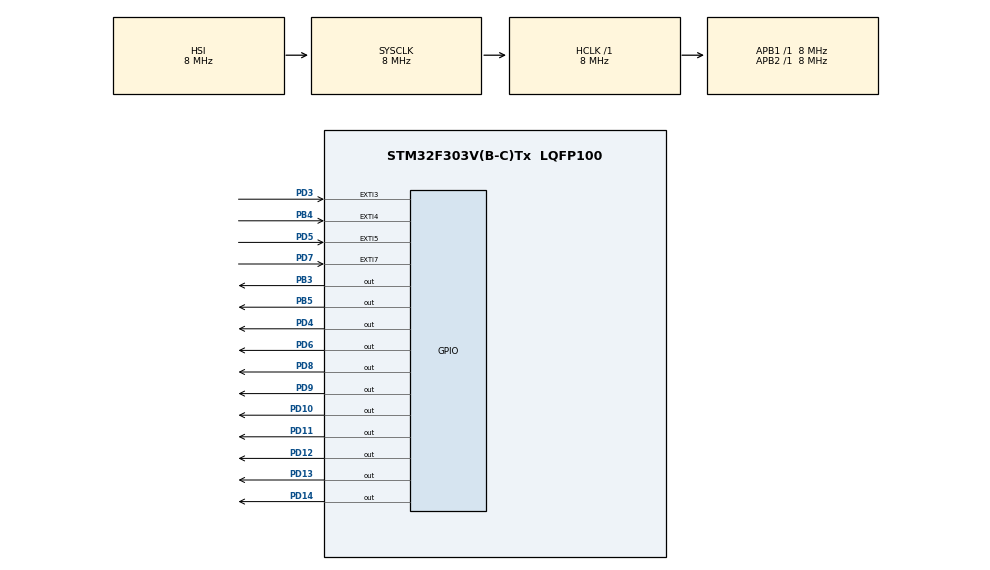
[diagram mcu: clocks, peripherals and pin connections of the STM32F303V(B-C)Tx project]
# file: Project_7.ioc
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Mcu.Family=STM32F3
Mcu.Name=STM32F303V(B-C)Tx
Mcu.Package=LQFP100
NVIC.EXTI3_IRQn=true\:1\:0\:true\:false\:true\:true\:true
NVIC.EXTI4_IRQn=true\:1\:0\:true\:false\:true\:true\:true
NVIC.EXTI9_5_IRQn=true\:1\:0\:true\:false\:true\:true\:true
NVIC.PriorityGroup=NVIC_PRIORITYGROUP_4
PB3.GPIO_PuPd=GPIO_PULLDOWN
PB3.PinState=GPIO_PIN_SET
PB3.Signal=GPIO_Output
PB4.GPIO_ModeDefaultEXTI=GPIO_MODE_IT_RISING_FALLING
PB4.GPIO_PuPd=GPIO_PULLDOWN
PB4.Signal=GPXTI4
PB5.GPIO_PuPd=GPIO_PULLDOWN
PB5.PinState=GPIO_PIN_SET
PB5.Signal=GPIO_Output
PD10.Signal=GPIO_Output
PD11.Signal=GPIO_Output
PD12.Signal=GPIO_Output
PD13.Signal=GPIO_Output
PD14.Signal=GPIO_Output
PD3.GPIO_ModeDefaultEXTI=GPIO_MODE_IT_RISING_FALLING
PD3.GPIO_PuPd=GPIO_PULLDOWN
PD3.Signal=GPXTI3
PD4.GPIO_PuPd=GPIO_PULLDOWN
PD4.PinState=GPIO_PIN_SET
PD4.Signal=GPIO_Output
PD5.GPIO_ModeDefaultEXTI=GPIO_MODE_IT_RISING_FALLING
PD5.GPIO_PuPd=GPIO_PULLDOWN
PD5.Signal=GPXTI5
PD6.GPIO_PuPd=GPIO_PULLDOWN
PD6.PinState=GPIO_PIN_SET
PD6.Signal=GPIO_Output
PD7.GPIO_ModeDefaultEXTI=GPIO_MODE_IT_RISING_FALLING
PD7.GPIO_PuPd=GPIO_PULLDOWN
PD7.Signal=GPXTI7
PD8.Signal=GPIO_Output
PD9.Signal=GPIO_Output
ProjectManager.HeapSize=0x200
ProjectManager.StackSize=0x400
ProjectManager.TargetToolchain=STM32CubeIDE
RCC.AHBFreq_Value=8000000
RCC.APB1Freq_Value=8000000
RCC.APB2Freq_Value=8000000
RCC.CortexFreq_Value=8000000
RCC.HSE_VALUE=8000000
RCC.HSI_VALUE=8000000
RCC.LSE_VALUE=32768
RCC.SYSCLKFreq_VALUE=8000000
board=custom

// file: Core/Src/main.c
/* USER CODE BEGIN Header */
/**
  ******************************************************************************
  * @file           : main.c
  * @brief          : Main program body
  ******************************************************************************
  * @attention
  *
  * <h2><center>&copy; Copyright (c) 2022 STMicroelectronics.
  * All rights reserved.</center></h2>
  *
  * This software component is licensed by ST under BSD 3-Clause license,
  * the "License"; You may not use this file except in compliance with the
  * License. You may obtain a copy of the License at:
  *                        opensource.org/licenses/BSD-3-Clause
  *
  ******************************************************************************
  */
/* USER CODE END Header */
#include "main.h"

/* USER CODE BEGIN Includes */
#include "LiquidCrystal.h"
#include "stdio.h"
#include "math.h"
#include "stdbool.h"
/* USER CODE END Includes */

/* USER CODE BEGIN PTD */
GPIO_TypeDef *const Row_ports[] = {GPIOD, GPIOD, GPIOD, GPIOB};
const uint16_t Row_pins[] = {GPIO_PIN_3, GPIO_PIN_5, GPIO_PIN_7, GPIO_PIN_4};
GPIO_TypeDef *const Column_ports[] = {GPIOD, GPIOD, GPIOB, GPIOB};
const uint16_t Column_pins[] = {GPIO_PIN_4, GPIO_PIN_6, GPIO_PIN_3, GPIO_PIN_5};
volatile uint32_t last_gpio_exti;
/* USER CODE END PTD */

/* USER CODE BEGIN PV */
int operator = 0, number_2 = 0;
float number_1 = 0, result = 0;
int get_number_state = 1;
int negative_flag = 0, error_flag = 0;
/* USER CODE END PV */

void SystemClock_Config(void);

static void MX_GPIO_Init(void);
/* USER CODE BEGIN PFP */
void manage_input(int);
int get_digit_or_operator(int);
float calculate_result();

/* USER CODE END PFP */

/* USER CODE BEGIN 0 */
void HAL_GPIO_EXTI_Callback(uint16_t GPIO_Pin) {
    if (last_gpio_exti + 200 > HAL_GetTick()) {
        return;
    }
    last_gpio_exti = HAL_GetTick();

    int8_t row_number = -1;
    int8_t column_number = -1;

    for (uint8_t row = 0; row < 4; row++) {
        if (GPIO_Pin == Row_pins[row]) {
            row_number = row;
        }
    }

    HAL_GPIO_WritePin(Column_ports[0], Column_pins[0], 0);
    HAL_GPIO_WritePin(Column_ports[1], Column_pins[1], 0);
    HAL_GPIO_WritePin(Column_ports[2], Column_pins[2], 0);
    HAL_GPIO_WritePin(Column_ports[3], Column_pins[3], 0);

    for (uint8_t col = 0; col < 4; col++) {
        HAL_GPIO_WritePin(Column_ports[col], Column_pins[col], 1);
        if (HAL_GPIO_ReadPin(Row_ports[row_number], Row_pins[row_number])) {
            column_number = col;
        }
        HAL_GPIO_WritePin(Column_ports[col], Column_pins[col], 0);
    }

    HAL_GPIO_WritePin(Column_ports[0], Column_pins[0], 1);
    HAL_GPIO_WritePin(Column_ports[1], Column_pins[1], 1);
    HAL_GPIO_WritePin(Column_ports[2], Column_pins[2], 1);
    HAL_GPIO_WritePin(Column_ports[3], Column_pins[3], 1);

    if (row_number == -1 || column_number == -1) {
        return;
    }

    const uint8_t button_number = row_number * 4 + column_number + 1;

    manage_input(button_number);
}
/* USER CODE END 0 */

int main(void) {

    /* MCU Configuration--------------------------------------------------------*/

    /* Reset of all peripherals, Initializes the Flash interface and the Systick. */
    HAL_Init();

    /* Configure the system clock */
    SystemClock_Config();

    /* Initialize all configured peripherals */
    MX_GPIO_Init();
    /* USER CODE BEGIN 2 */
    LiquidCrystal(GPIOD, GPIO_PIN_8, GPIO_PIN_9, GPIO_PIN_10, GPIO_PIN_11, GPIO_PIN_12, GPIO_PIN_13, GPIO_PIN_14);
    begin(20, 4);
    setCursor(1, 0);
    print("0");
    /* USER CODE END 2 */

    /* Infinite loop */
    while (1) {

    }
}

void SystemClock_Config(void) {
    RCC_OscInitTypeDef RCC_OscInitStruct = {0};
    RCC_ClkInitTypeDef RCC_ClkInitStruct = {0};

    /** Initializes the RCC Oscillators according to the specified parameters
    * in the RCC_OscInitTypeDef structure.
    */
    RCC_OscInitStruct.OscillatorType = RCC_OSCILLATORTYPE_HSI;
    RCC_OscInitStruct.HSIState = RCC_HSI_ON;
    RCC_OscInitStruct.HSICalibrationValue = RCC_HSICALIBRATION_DEFAULT;
    RCC_OscInitStruct.PLL.PLLState = RCC_PLL_NONE;
    if (HAL_RCC_OscConfig(&RCC_OscInitStruct) != HAL_OK) {
        Error_Handler();
    }
    /** Initializes the CPU, AHB and APB buses clocks
    */
    RCC_ClkInitStruct.ClockType = RCC_CLOCKTYPE_HCLK | RCC_CLOCKTYPE_SYSCLK
                                  | RCC_CLOCKTYPE_PCLK1 | RCC_CLOCKTYPE_PCLK2;
    RCC_ClkInitStruct.SYSCLKSource = RCC_SYSCLKSOURCE_HSI;
    RCC_ClkInitStruct.AHBCLKDivider = RCC_SYSCLK_DIV1;
    RCC_ClkInitStruct.APB1CLKDivider = RCC_HCLK_DIV1;
    RCC_ClkInitStruct.APB2CLKDivider = RCC_HCLK_DIV1;

    if (HAL_RCC_ClockConfig(&RCC_ClkInitStruct, FLASH_LATENCY_0) != HAL_OK) {
        Error_Handler();
    }
}

static void MX_GPIO_Init(void) {
    GPIO_InitTypeDef GPIO_InitStruct = {0};

    /* GPIO Ports Clock Enable */
    __HAL_RCC_GPIOD_CLK_ENABLE();
    __HAL_RCC_GPIOB_CLK_ENABLE();

    /*Configure GPIO pin Output Level */
    HAL_GPIO_WritePin(GPIOD, GPIO_PIN_8 | GPIO_PIN_9 | GPIO_PIN_10 | GPIO_PIN_11
                             | GPIO_PIN_12 | GPIO_PIN_13 | GPIO_PIN_14, GPIO_PIN_RESET);

    /*Configure GPIO pin Output Level */
    HAL_GPIO_WritePin(GPIOD, GPIO_PIN_4 | GPIO_PIN_6, GPIO_PIN_SET);

    /*Configure GPIO pin Output Level */
    HAL_GPIO_WritePin(GPIOB, GPIO_PIN_3 | GPIO_PIN_5, GPIO_PIN_SET);

    /*Configure GPIO pins : PD8 PD9 PD10 PD11
                             PD12 PD13 PD14 */
    GPIO_InitStruct.Pin = GPIO_PIN_8 | GPIO_PIN_9 | GPIO_PIN_10 | GPIO_PIN_11
                          | GPIO_PIN_12 | GPIO_PIN_13 | GPIO_PIN_14;
    GPIO_InitStruct.Mode = GPIO_MODE_OUTPUT_PP;
    GPIO_InitStruct.Pull = GPIO_NOPULL;
    GPIO_InitStruct.Speed = GPIO_SPEED_FREQ_LOW;
    HAL_GPIO_Init(GPIOD, &GPIO_InitStruct);

    /*Configure GPIO pins : PD3 PD5 PD7 */
    GPIO_InitStruct.Pin = GPIO_PIN_3 | GPIO_PIN_5 | GPIO_PIN_7;
    GPIO_InitStruct.Mode = GPIO_MODE_IT_RISING_FALLING;
    GPIO_InitStruct.Pull = GPIO_PULLDOWN;
    HAL_GPIO_Init(GPIOD, &GPIO_InitStruct);

    /*Configure GPIO pins : PD4 PD6 */
    GPIO_InitStruct.Pin = GPIO_PIN_4 | GPIO_PIN_6;
    GPIO_InitStruct.Mode = GPIO_MODE_OUTPUT_PP;
    GPIO_InitStruct.Pull = GPIO_PULLDOWN;
    GPIO_InitStruct.Speed = GPIO_SPEED_FREQ_LOW;
    HAL_GPIO_Init(GPIOD, &GPIO_InitStruct);

    /*Configure GPIO pins : PB3 PB5 */
    GPIO_InitStruct.Pin = GPIO_PIN_3 | GPIO_PIN_5;
    GPIO_InitStruct.Mode = GPIO_MODE_OUTPUT_PP;
    GPIO_InitStruct.Pull = GPIO_PULLDOWN;
    GPIO_InitStruct.Speed = GPIO_SPEED_FREQ_LOW;
    HAL_GPIO_Init(GPIOB, &GPIO_InitStruct);

    /*Configure GPIO pin : PB4 */
    GPIO_InitStruct.Pin = GPIO_PIN_4;
    GPIO_InitStruct.Mode = GPIO_MODE_IT_RISING_FALLING;
    GPIO_InitStruct.Pull = GPIO_PULLDOWN;
    HAL_GPIO_Init(GPIOB, &GPIO_InitStruct);

    /* EXTI interrupt init*/
    HAL_NVIC_SetPriority(EXTI3_IRQn, 1, 0);
    HAL_NVIC_EnableIRQ(EXTI3_IRQn);

    HAL_NVIC_SetPriority(EXTI4_IRQn, 1, 0);
    HAL_NVIC_EnableIRQ(EXTI4_IRQn);

    HAL_NVIC_SetPriority(EXTI9_5_IRQn, 1, 0);
    HAL_NVIC_EnableIRQ(EXTI9_5_IRQn);

}

/* USER CODE BEGIN 4 */
void manage_input (int button_number) {
    int digit_or_operator = get_digit_or_operator(button_number);

    /* Erase Zero */
    if (number_1 == 0 && negative_flag == 0 && error_flag == 0) {
        begin(20, 4);
        setCursor(1, 0);
    }

    /* Get First Number */
    if (get_number_state == 1 && number_1 < 1000 && digit_or_operator < 10) {
        number_1 = number_1 * 10 + digit_or_operator;
        if (negative_flag == 1) {
            number_1 *= -1;
            negative_flag = 0;
        }
        char show[2];
        show[0] = digit_or_operator + '0';
        show[1] = '\0';
        print(show);
    }

    /* Negative Number or Subtraction? */
    if (digit_or_operator == 45) {
        if (number_1 == 0) {
            negative_flag = 1;
            char show[2];
            show[0] = digit_or_operator;
            show[1] = '\0';
            print(show);
        } else {
            operator = digit_or_operator;
            setCursor(1, 1);
            char show[2];
            show[0] = digit_or_operator;
            show[1] = '\0';
            print(show);
            get_number_state = 2;
        }
    }

    /* Operations (Except for Subtraction) */
    if (digit_or_operator == 42 || digit_or_operator == 43 || digit_or_operator == 47) {
        operator = digit_or_operator;
        setCursor(1, 1);
        char show[2];
        show[0] = digit_or_operator;
        show[1] = '\0';
        print(show);
        get_number_state = 2;
    }

    /* Change Row for Print on LCD */
    if (get_number_state == 2 && number_2 == 0)
        setCursor(1, 2);

    /* Get Second Number */
    if (get_number_state == 2 && number_2 < 1000 && digit_or_operator < 10) {
        number_2 = number_2 * 10 + digit_or_operator;
        char show[2];
        show[0] = digit_or_operator + '0';
        show[1] = '\0';
        print(show);
    }

    /* Calculate Result */
    if (digit_or_operator == 61 && get_number_state != 1) {
        result = calculate_result();
        number_1 = result;
        char show[20];

        if (error_flag == 0) {
            if (result == sqrt(result * result) || -1 * result == sqrt(result * result)) {
                sprintf(show, "%.0f", result);
            } else {
                sprintf(show, "%.4f", result);
            }

            begin(20, 4);
            setCursor(1, 0);
            print(show);
            number_2 = 0;
            operator = 0;
            get_number_state = 0;
        }
    }

    /* Clear */
    if (digit_or_operator == 67) {
        begin(20, 4);
        setCursor(1, 0);
        print("0");
        number_1 = 0;
        number_2 = 0;
        operator = 0;
        get_number_state = 1;

        if (error_flag == 1) {
            error_flag = 0;
        }
    }

    /* Change state for only getting 1 to 4 digit numbers for the first number */
    if (get_number_state == 1 && ((number_1 >= 1000 && number_1 < 10000) || (number_1 > -10000 && number_1 <= -1000))) {
        get_number_state = 0;
        operator = 0;
    }

    /* Change state for operation */
    if (get_number_state == 0 && operator != 0) {
        get_number_state = 2;
        number_2 = 0;
    }

    /* Change state for only getting 1 to 4 digit numbers for the second number */
    if (get_number_state == 2 && ((number_2 >= 1000 && number_2 < 10000) || (number_2 > -10000 && number_2 <= -1000))) {
        get_number_state = 3;
    }
}

int get_digit_or_operator (int button_number) {
    if (button_number == 1 || button_number == 2 || button_number == 3)
        return button_number;
    else if (button_number == 4)
        return 45;
    else if (button_number == 5 ||button_number == 6 || button_number == 7)
        return button_number - 1;
    else if (button_number == 8)
        return 43;
    else if (button_number == 9 ||button_number == 10 || button_number == 11)
        return button_number - 2;
    else if (button_number == 12)
        return 42;
    else if (button_number == 13)
        return 67;
    else if (button_number == 14)
        return 0;
    else if (button_number == 15)
        return 61;
    else if (button_number == 16)
        return 47;
    else
        return -1;
}

float calculate_result () {
    if (operator == 45)
        return (float) (number_1 - number_2);
    else if (operator == 43)
        return (float) (number_1 + number_2);
    else if (operator == 42)
        return (float) (number_1 * number_2);
    else if (operator == 47) {
        if (number_2 != 0)
            return (float) number_1 / (float) number_2;
        else {
            begin(20, 4);
            setCursor(1, 0);
            print("Invalid Operation");
            setCursor(1, 1);
            print("Division by Zero!");
            setCursor(1, 3);
            print("Press C to Continue");
            number_1 = 0;
            number_2 = 0;
            operator = 0;
            get_number_state = 1;
            error_flag = 1;
            return 0;
        }
    }
    else
        return 0;
}
/* USER CODE END 4 */

void Error_Handler(void) {
    __disable_irq();
    while (1) {
    }
}

/************************ (C) COPYRIGHT STMicroelectronics *****END OF FILE****/
